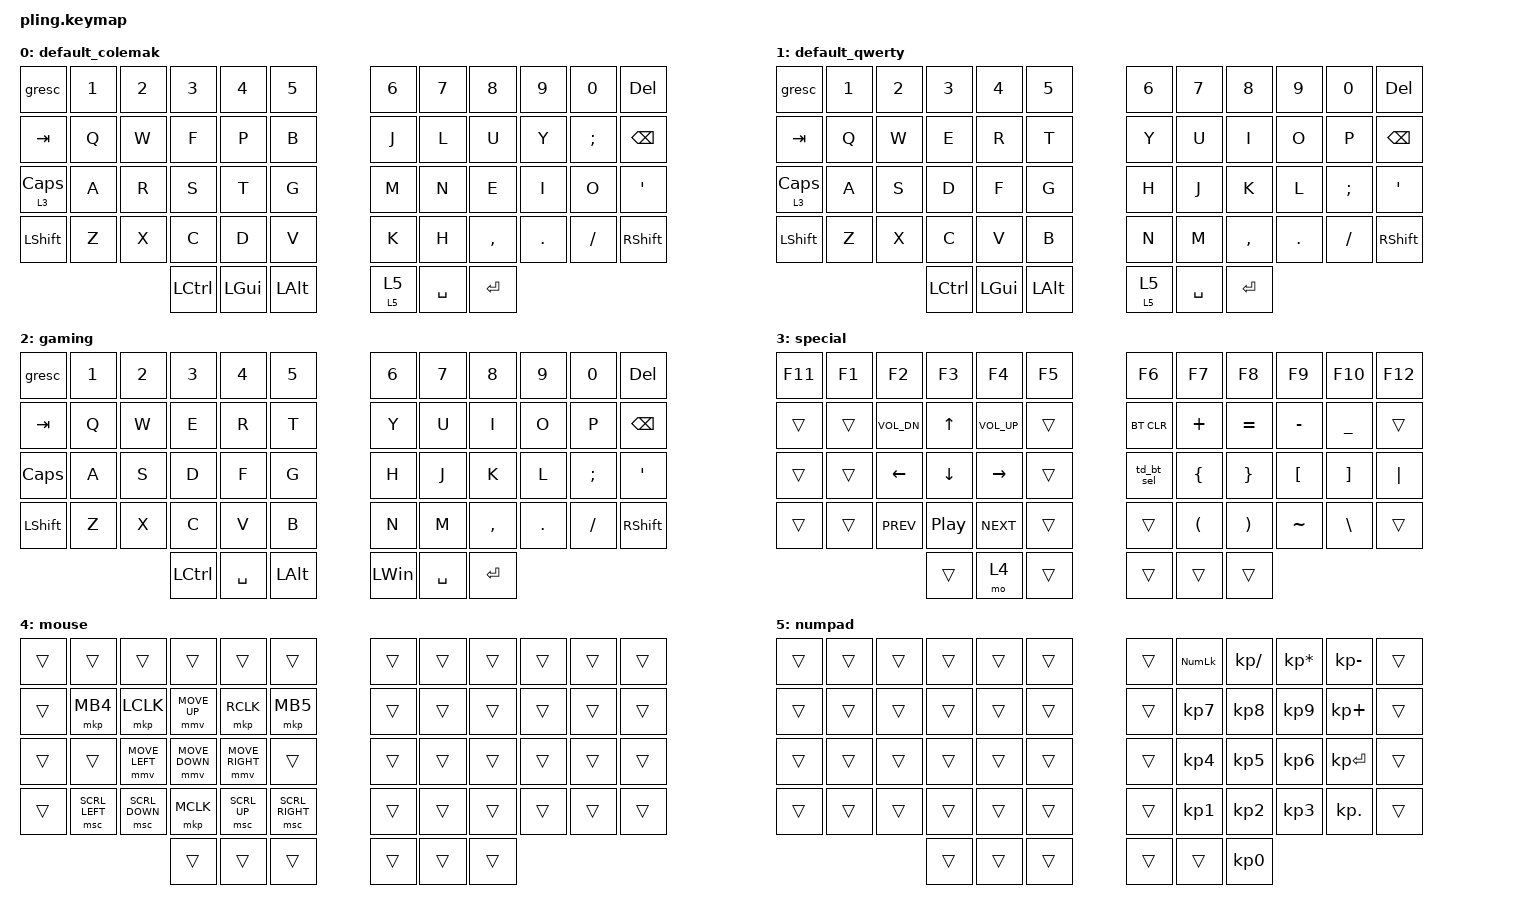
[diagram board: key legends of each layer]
#include <behaviors.dtsi>
#include <dt-bindings/zmk/bt.h>
#include <dt-bindings/zmk/keys.h>
#include <dt-bindings/zmk/pointing.h>

#define ZMK_POINTING_DEFAULT_MOVE_VAL 800  // default: 600
#define ZMK_POINTING_DEFAULT_SCRL_VAL 10    // default: 10

&lt {
    tapping-term-ms = <200>;
    flavor = "hold-preferred";
};

/ {
    combos {
        compatible = "zmk,combos";

        mute {
            bindings = <&kp C_MUTE>;
            key-positions = <14 16>;
            layers = <3>;
        };

        tog_layer {
            bindings = <&tog 1>;
            key-positions = <10 11>;
        };

        mouse_combo {
            bindings = <&mo 4>;
            key-positions = <24 49>;
        };

        tog_gaming {
            bindings = <&tog 2>;
            key-positions = <9 10 11>;
        };

        space_alt {
            bindings = <&kp SPACE>;
            key-positions = <50 49>;
        };
    };

    behaviors {
        td_bt_sel: td_bt_sel {
            compatible = "zmk,behavior-tap-dance";
            label = "TD_BT_SEL";
            #binding-cells = <0>;
            bindings =
                <&bt BT_SEL 0>,
                <&bt BT_SEL 1>,
                <&bt BT_SEL 2>,
                <&bt BT_SEL 3>,
                <&bt BT_SEL 4>;

            tapping-term-ms = <500>;
        };

        mo_tog: mo_tog {
            compatible = "zmk,behavior-hold-tap";
            label = "MO_TOG";
            bindings = <&mo>, <&tog>;

            #binding-cells = <2>;
            tapping-term-ms = <200>;
        };
    };

    keymap {
        compatible = "zmk,keymap";

        default_colemak {
            bindings = <
&gresc      &kp N1  &kp N2  &kp N3     &kp N4    &kp N5    &kp N6       &kp N7     &kp N8     &kp N9   &kp N0    &kp DEL
&kp TAB     &kp Q   &kp W   &kp F      &kp P     &kp B     &kp J        &kp L      &kp U      &kp Y    &kp SEMI  &kp BSPC
&lt 3 CAPS  &kp A   &kp R   &kp S      &kp T     &kp G     &kp M        &kp N      &kp E      &kp I    &kp O     &kp SQT
&kp LSHIFT  &kp Z   &kp X   &kp C      &kp D     &kp V     &kp K        &kp H      &kp COMMA  &kp DOT  &kp FSLH  &kp RSHIFT
                            &kp LCTRL  &kp LGUI  &kp LALT  &mo_tog 5 5  &kp SPACE  &kp ENTER
            >;
        };

        default_qwerty {
            bindings = <
&gresc      &kp N1  &kp N2  &kp N3     &kp N4    &kp N5    &kp N6       &kp N7     &kp N8     &kp N9   &kp N0    &kp DEL
&kp TAB     &kp Q   &kp W   &kp E      &kp R     &kp T     &kp Y        &kp U      &kp I      &kp O    &kp P     &kp BSPC
&lt 3 CAPS  &kp A   &kp S   &kp D      &kp F     &kp G     &kp H        &kp J      &kp K      &kp L    &kp SEMI  &kp SQT
&kp LSHIFT  &kp Z   &kp X   &kp C      &kp V     &kp B     &kp N        &kp M      &kp COMMA  &kp DOT  &kp FSLH  &kp RSHIFT
                            &kp LCTRL  &kp LGUI  &kp LALT  &mo_tog 5 5  &kp SPACE  &kp ENTER
            >;
        };

        gaming {
            bindings = <
&gresc      &kp N1  &kp N2  &kp N3     &kp N4     &kp N5    &kp N6    &kp N7     &kp N8     &kp N9   &kp N0    &kp DEL
&kp TAB     &kp Q   &kp W   &kp E      &kp R      &kp T     &kp Y     &kp U      &kp I      &kp O    &kp P     &kp BSPC
&kp CAPS    &kp A   &kp S   &kp D      &kp F      &kp G     &kp H     &kp J      &kp K      &kp L    &kp SEMI  &kp SQT
&kp LSHIFT  &kp Z   &kp X   &kp C      &kp V      &kp B     &kp N     &kp M      &kp COMMA  &kp DOT  &kp FSLH  &kp RSHIFT
                            &kp LCTRL  &kp SPACE  &kp LALT  &kp LWIN  &kp SPACE  &kp ENTER
            >;
        };

        special {
            bindings = <
&kp F11  &kp F1  &kp F2        &kp F3    &kp F4        &kp F5  &kp F6      &kp F7    &kp F8     &kp F9     &kp F10    &kp F12
&trans   &trans  &kp C_VOL_DN  &kp UP    &kp C_VOL_UP  &trans  &bt BT_CLR  &kp PLUS  &kp EQUAL  &kp MINUS  &kp UNDER  &trans
&trans   &trans  &kp LEFT      &kp DOWN  &kp RIGHT     &trans  &td_bt_sel  &kp LBRC  &kp RBRC   &kp LBKT   &kp RBKT   &kp PIPE
&trans   &trans  &kp C_PREV    &kp C_PP  &kp C_NEXT    &trans  &trans      &kp LPAR  &kp RPAR   &kp TILDE  &kp BSLH   &trans
                               &trans    &mo 4         &trans  &trans      &trans    &trans
            >;
        };

        mouse {
            bindings = <
&trans  &trans          &trans          &trans          &trans           &trans           &trans  &trans  &trans  &trans  &trans  &trans
&trans  &mkp MB4        &mkp LCLK       &mmv MOVE_UP    &mkp RCLK        &mkp MB5         &trans  &trans  &trans  &trans  &trans  &trans
&trans  &trans          &mmv MOVE_LEFT  &mmv MOVE_DOWN  &mmv MOVE_RIGHT  &trans           &trans  &trans  &trans  &trans  &trans  &trans
&trans  &msc SCRL_LEFT  &msc SCRL_DOWN  &mkp MCLK       &msc SCRL_UP     &msc SCRL_RIGHT  &trans  &trans  &trans  &trans  &trans  &trans
                                        &trans          &trans           &trans           &trans  &trans  &trans
            >;
        };

        numpad {
            bindings = <
&trans  &trans  &trans  &trans  &trans  &trans  &trans  &kp KP_NUMLOCK  &kp KP_DIVIDE    &kp KP_ASTERISK  &kp KP_MINUS  &trans
&trans  &trans  &trans  &trans  &trans  &trans  &trans  &kp KP_N7       &kp KP_N8        &kp KP_N9        &kp KP_PLUS   &trans
&trans  &trans  &trans  &trans  &trans  &trans  &trans  &kp KP_N4       &kp KP_NUMBER_5  &kp KP_N6        &kp KP_ENTER  &trans
&trans  &trans  &trans  &trans  &trans  &trans  &trans  &kp KP_N1       &kp KP_N2        &kp KP_N3        &kp KP_DOT    &trans
                        &trans  &trans  &trans  &trans  &trans          &kp KP_N0
            >;
        };
    };
};
